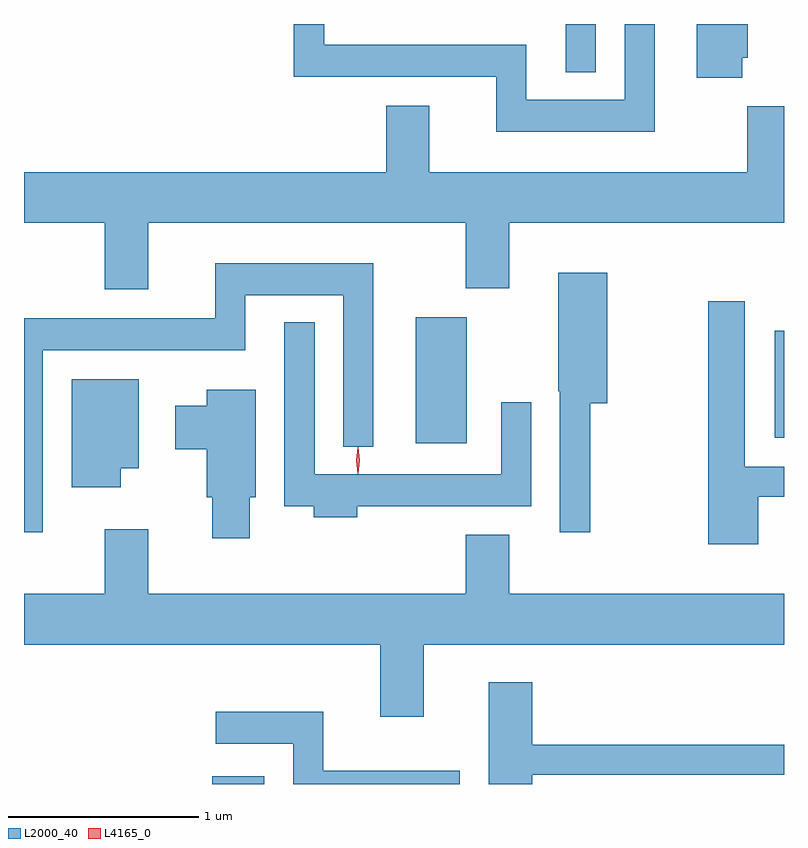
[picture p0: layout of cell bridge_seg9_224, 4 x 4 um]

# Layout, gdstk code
import gdstk
lib = gdstk.Library(unit=1e-6, precision=1e-09)
def R(c, l, rs):  # rectangles x0, y0, x1, y1
    for r in rs: c.add(gdstk.rectangle(r[:2], r[2:], *l))
def P(c, l, *ps):  # polygons
    for p in ps: c.add(gdstk.Polygon(p, *l))
L2000_40 = (2000, 40)
L4165_0 = (4165, 0)

bridge_seg9_224 = lib.new_cell('bridge_seg9_224')
R(bridge_seg9_224, L2000_40, [(1481.806,1977.763,1482.079,1977.804), (1482.876,1979.556,1483.144,1980.219), (1484.766,1979.586,1484.815,1980.149), (1483.666,1981.508,1483.824,1981.763)])
P(bridge_seg9_224, L2000_40, [(1484.134,1981.763),(1483.976,1981.763),(1483.976,1981.364),(1483.459,1981.364),(1483.459,1981.654),(1482.394,1981.654),(1482.394,1981.763),(1482.236,1981.763),(1482.236,1981.486),(1483.301,1981.486),(1483.301,1981.196),(1484.134,1981.196)],
  [(1484.594,1981.586),(1484.624,1981.586),(1484.624,1981.763),(1484.356,1981.763),(1484.356,1981.481),(1484.594,1981.481)],
  [(1481.469,1980.716),(1483.141,1980.716),(1483.141,1980.371),(1483.369,1980.371),(1483.369,1980.716),(1484.815,1980.716),(1484.815,1981.329),(1484.621,1981.329),(1484.621,1980.984),(1482.949,1980.984),(1482.949,1981.334),(1482.721,1981.334),(1482.721,1980.984),(1480.815,1980.984),(1480.815,1980.716),(1481.241,1980.716),(1481.241,1980.366),(1481.469,1980.366)],
  [(1480.914,1980.046),(1481.979,1980.046),(1481.979,1980.336),(1482.496,1980.336),(1482.496,1979.538),(1482.654,1979.538),(1482.654,1980.504),(1481.821,1980.504),(1481.821,1980.214),(1480.815,1980.214),(1480.815,1979.088),(1480.914,1979.088)],
  [(1483.794,1979.766),(1483.884,1979.766),(1483.884,1980.454),(1483.626,1980.454),(1483.626,1979.83),(1483.636,1979.83),(1483.636,1979.088),(1483.794,1979.088)],
  [(1484.679,1979.276),(1484.815,1979.276),(1484.815,1979.434),(1484.609,1979.434),(1484.609,1980.304),(1484.416,1980.304),(1484.416,1979.026),(1484.679,1979.026)],
  [(1482.569,1979.226),(1483.484,1979.226),(1483.484,1979.773),(1483.326,1979.773),(1483.326,1979.394),(1482.344,1979.394),(1482.344,1980.193),(1482.186,1980.193),(1482.186,1979.226),(1482.341,1979.226),(1482.341,1979.166),(1482.569,1979.166)],
  [(1481.324,1979.426),(1481.419,1979.426),(1481.419,1979.894),(1481.066,1979.894),(1481.066,1979.326),(1481.324,1979.326)],
  [(1482.004,1979.271),(1482.034,1979.271),(1482.034,1979.839),(1481.776,1979.839),(1481.776,1979.754),(1481.611,1979.754),(1481.611,1979.526),(1481.776,1979.526),(1481.776,1979.271),(1481.806,1979.271),(1481.806,1979.056),(1482.004,1979.056)],
  [(1482.919,1978.496),(1484.815,1978.496),(1484.815,1978.764),(1483.369,1978.764),(1483.369,1979.074),(1483.141,1979.074),(1483.141,1978.764),(1481.469,1978.764),(1481.469,1979.104),(1481.241,1979.104),(1481.241,1978.764),(1480.815,1978.764),(1480.815,1978.496),(1482.691,1978.496),(1482.691,1978.116),(1482.919,1978.116)],
  [(1483.489,1977.811),(1484.815,1977.811),(1484.815,1977.969),(1483.489,1977.969),(1483.489,1978.299),(1483.261,1978.299),(1483.261,1977.763),(1483.489,1977.763)],
  [(1483.109,1977.834),(1482.389,1977.834),(1482.389,1978.144),(1481.823,1978.144),(1481.823,1977.976),(1482.231,1977.976),(1482.231,1977.763),(1483.109,1977.763)])
P(bridge_seg9_224, L4165_0, [(1482.572,1979.397),(1482.563,1979.467),(1482.572,1979.536),(1482.573,1979.536),(1482.573,1979.536),(1482.583,1979.467),(1482.573,1979.397),(1482.573,1979.397)])

lib.write_gds('bridge_seg9_224.gds')
